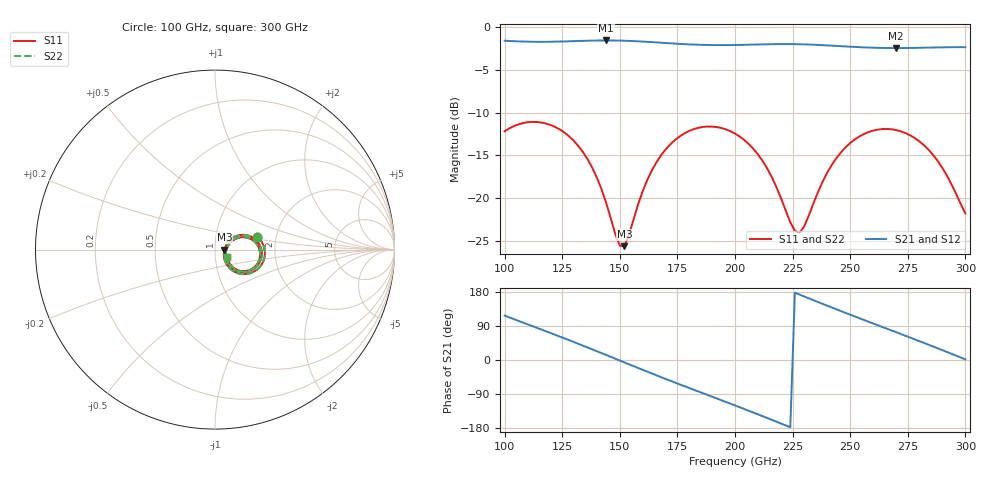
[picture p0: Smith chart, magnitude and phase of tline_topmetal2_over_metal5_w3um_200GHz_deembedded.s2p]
! Created with skrf 2.2.0 (http://scikit-rf.org).
# GHz S DB R 50.0
! Port[1] = P1
! Port[2] = P2
!freq dBS11 angS11 dBS21 angS21 dBS12 angS12 dBS22 angS22
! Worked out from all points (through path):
!   101 points, 100 GHz to 300 GHz, reference 50 ohm
!   highest |S21| = -1.56 dB at 144 GHz (marker M1); lowest = -2.4 dB at 270 GHz (marker M2)
!   group delay of S21, straight-line fit = 6.62 ps
!   lowest |S11| = -25.6 dB at 152 GHz (marker M3), VSWR 1.11, Z = 55.5 + j0.0589 ohm
!   |S11| at or under -10 dB: start of sweep to end of sweep
!   |S22| runs from -25.7 to -11.1 dB; largest |S21 - S12| = 1.4e-13
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100  -12.17 16.9  -1.58 117.2  -1.58 117.2  -12.16 16.5
108  -11.21 1.8  -1.68 98.7  -1.68 98.7  -11.20 1.5
118  -11.27 -17.2  -1.71 75.7  -1.71 75.7  -11.26 -17.5
134  -14.60 -45.2  -1.60 37.9  -1.60 37.9  -14.60 -45.6
144  -20.47 -50.4  -1.56 13.4  -1.56 13.4  -20.49 -51.0
150  -25.55 -19.9  -1.57 -1.5  -1.57 -1.5  -25.63 -20.4
152  -25.60 0.6  -1.59 -6.4  -1.59 -6.4  -25.69 0.4
160  -19.14 33.6  -1.69 -26.1  -1.69 -26.1  -19.15 33.5
168  -14.95 27.5  -1.82 -45.4  -1.82 -45.4  -14.95 27.3
176  -12.76 14.9  -1.96 -64.3  -1.96 -64.3  -12.77 14.7
184  -11.77 0.9  -2.06 -82.9  -2.06 -82.9  -11.77 0.6
200  -12.44 -27.3  -2.09 -119.9  -2.09 -119.9  -12.44 -27.6
212  -15.65 -44.4  -2.01 -148.3  -2.01 -148.3  -15.66 -44.9
226  -23.82 -20.2  -1.99 177.5  -1.99 177.5  -23.87 -20.7
230  -23.31 8.4  -2.02 167.7  -2.02 167.7  -23.36 8.1
234  -20.63 23.9  -2.05 157.9  -2.05 157.9  -20.66 23.7
242  -16.11 25.8  -2.16 138.6  -2.16 138.6  -16.12 25.5
252  -13.12 12.9  -2.32 114.9  -2.32 114.9  -13.13 12.5
268  -11.94 -13.9  -2.44 77.8  -2.44 77.8  -11.95 -14.4
270  -12.04 -17.3  -2.45 73.2  -2.45 73.2  -12.05 -17.8
286  -14.94 -40.9  -2.38 35.6  -2.38 35.6  -14.97 -41.8
300  -21.78 -31.4  -2.35 1.7  -2.35 1.7  -21.98 -32.5
